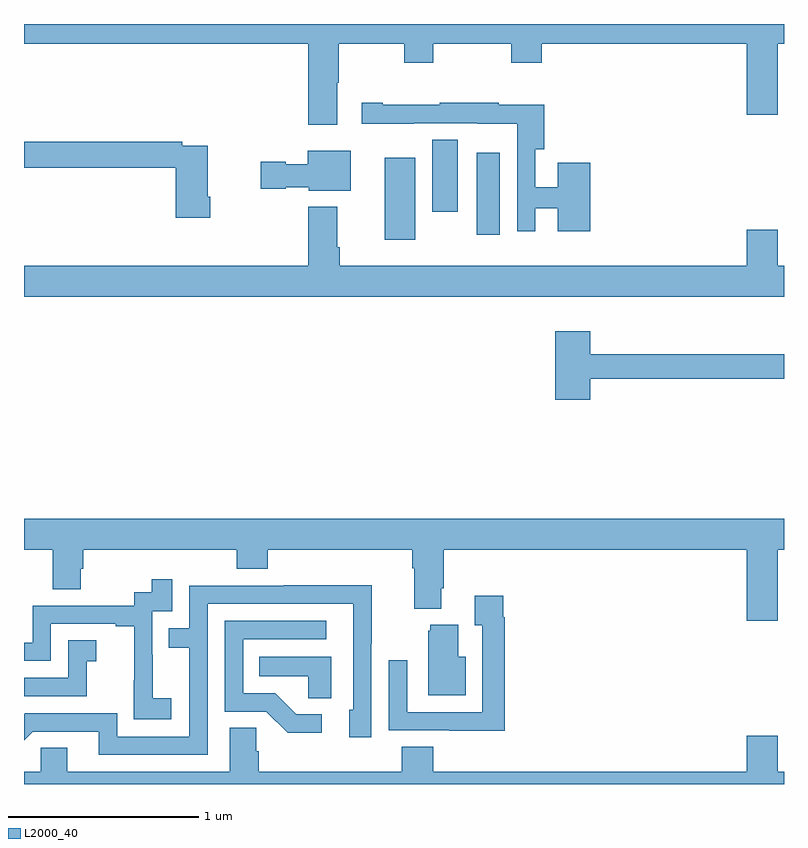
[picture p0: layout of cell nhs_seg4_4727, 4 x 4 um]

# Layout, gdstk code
import gdstk
lib = gdstk.Library(unit=1e-6, precision=1e-09)
def R(c, l, rs):  # rectangles x0, y0, x1, y1
    for r in rs: c.add(gdstk.rectangle(r[:2], r[2:], *l))
def P(c, l, *ps):  # polygons
    for p in ps: c.add(gdstk.Polygon(p, *l))
L2000_40 = (2000, 40)

nhs_seg4_4727 = lib.new_cell('nhs_seg4_4727')
R(nhs_seg4_4727, L2000_40, [(366.899,819.765,367.06,820.195), (367.382,819.792,367.504,820.222), (367.148,819.912,367.282,820.292)])
P(nhs_seg4_4727, L2000_40, [(366.649,820.592),(366.657,820.592),(366.657,820.796),(367,820.796),(367,820.697),(367.155,820.697),(367.155,820.796),(367.564,820.796),(367.564,820.697),(367.724,820.697),(367.724,820.796),(368.804,820.796),(368.804,820.422),(368.968,820.422),(368.968,820.796),(369,820.796),(369,820.9),(365,820.9),(365,820.796),(366.497,820.796),(366.497,820.371),(366.649,820.371)],
  [(367.692,819.93),(367.808,819.93),(367.808,819.81),(367.979,819.81),(367.979,820.171),(367.808,820.171),(367.808,820.04),(367.692,820.04),(367.692,820.241),(367.739,820.241),(367.739,820.476),(367.499,820.476),(367.499,820.486),(367.189,820.486),(367.189,820.476),(366.889,820.476),(366.889,820.486),(366.777,820.486),(366.777,820.376),(367.052,820.376),(367.052,820.377),(367.386,820.377),(367.386,820.376),(367.596,820.376),(367.596,819.81),(367.692,819.81)],
  [(365.981,819.991),(365.968,819.991),(365.968,820.26),(365.834,820.26),(365.834,820.28),(365,820.28),(365,820.144),(365.798,820.144),(365.798,819.879),(365.981,819.879)],
  [(366.721,820.234),(366.494,820.234),(366.494,820.162),(366.378,820.162),(366.378,820.175),(366.246,820.175),(366.246,820.033),(366.378,820.033),(366.378,820.04),(366.498,820.04),(366.498,820.022),(366.721,820.022)],
  [(369,819.628),(368.968,819.628),(368.968,819.817),(368.804,819.817),(368.804,819.628),(366.662,819.628),(366.662,819.724),(366.649,819.724),(366.649,819.937),(366.497,819.937),(366.497,819.628),(365,819.628),(365,819.464),(369,819.464)],
  [(367.979,819.034),(369,819.034),(369,819.163),(367.979,819.163),(367.979,819.283),(367.796,819.283),(367.796,818.922),(367.979,818.922)],
  [(368.968,818.132),(369,818.132),(369,818.296),(365,818.296),(365,818.132),(365.152,818.132),(365.152,817.924),(365.299,817.924),(365.299,818.034),(365.312,818.034),(365.312,818.132),(366.119,818.132),(366.119,818.033),(366.284,818.033),(366.284,818.132),(367.043,818.132),(367.043,818.036),(367.055,818.036),(367.055,817.823),(367.195,817.823),(367.195,817.93),(367.208,817.93),(367.208,818.132),(368.804,818.132),(368.804,817.758),(368.968,817.758)],
  [(365.776,817.351),(365.678,817.351),(365.678,817.58),(365.676,817.58),(365.676,817.809),(365.781,817.809),(365.781,817.978),(365.673,817.978),(365.673,817.908),(365.58,817.908),(365.58,817.839),(365.046,817.839),(365.046,817.644),(365,817.644),(365,817.548),(365.142,817.548),(365.142,817.743),(365.483,817.743),(365.483,817.731),(365.579,817.731),(365.579,817.447),(365.578,817.447),(365.578,817.241),(365.776,817.241)],
  [(365.967,817.848),(366.732,817.848),(366.732,817.29),(366.713,817.29),(366.713,817.146),(366.828,817.146),(366.828,817.639),(366.831,817.639),(366.831,817.946),(366.367,817.946),(366.367,817.944),(365.871,817.944),(365.871,817.719),(365.761,817.719),(365.761,817.618),(365.871,817.618),(365.871,817.149),(365.49,817.149),(365.49,817.272),(365.004,817.272),(365,817.268),(365,817.13),(365.046,817.176),(365.393,817.176),(365.393,817.053),(365.967,817.053)],
  [(367.529,817.778),(367.522,817.778),(367.522,817.891),(367.373,817.891),(367.373,817.735),(367.413,817.735),(367.413,817.278),(367.017,817.278),(367.017,817.552),(366.921,817.552),(366.921,817.182),(367.237,817.182),(367.237,817.181),(367.529,817.181)],
  [(366.568,817.266),(366.433,817.266),(366.322,817.377),(366.153,817.377),(366.153,817.662),(366.592,817.662),(366.592,817.758),(366.057,817.758),(366.057,817.281),(366.276,817.281),(366.389,817.169),(366.568,817.169)],
  [(367.324,817.57),(367.285,817.57),(367.285,817.738),(367.139,817.738),(367.139,817.707),(367.127,817.707),(367.127,817.367),(367.324,817.367)],
  [(365.331,817.547),(365.38,817.547),(365.38,817.657),(365.232,817.657),(365.232,817.458),(365,817.458),(365,817.362),(365.331,817.362)],
  [(366.616,817.57),(366.238,817.57),(366.238,817.466),(366.495,817.466),(366.495,817.351),(366.616,817.351)],
  [(369,816.964),(368.968,816.964),(368.968,817.153),(368.804,817.153),(368.804,816.964),(367.154,816.964),(367.154,817.097),(366.989,817.097),(366.989,816.964),(366.236,816.964),(366.236,817.073),(366.222,817.073),(366.222,817.196),(366.083,817.196),(366.083,816.964),(365.227,816.964),(365.227,817.091),(365.088,817.091),(365.088,816.964),(365,816.964),(365,816.9),(369,816.9)])

lib.write_gds('nhs_seg4_4727.gds')
